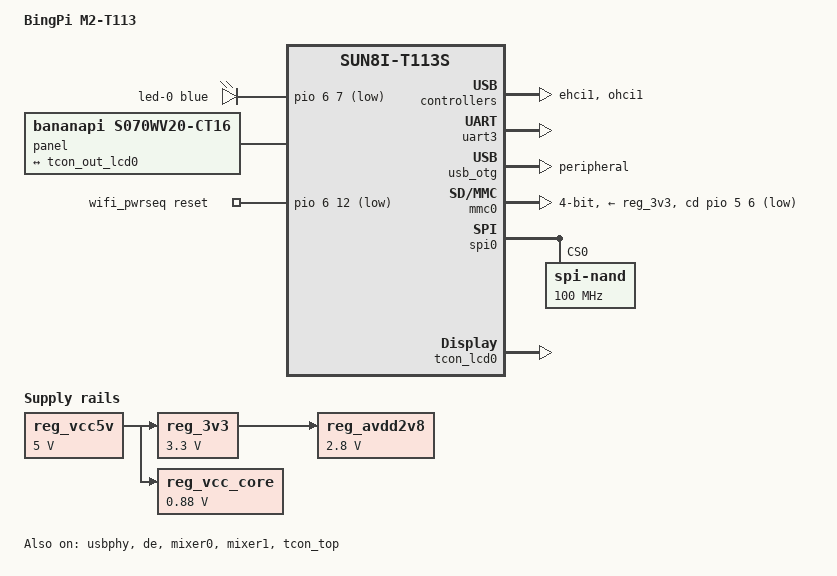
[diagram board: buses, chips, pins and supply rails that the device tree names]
#include <dt-bindings/interrupt-controller/irq.h>
#include <dt-bindings/gpio/gpio.h>
#include <dt-bindings/leds/common.h>

/dts-v1/;

#include "allwinner/sun8i-t113s.dtsi"

/ {
    model = "BingPi M2-T113";
    compatible = "bingpi,m2-t113","allwinner,sun8i-t113s";

	aliases {
		serial3 = &uart3;
		spi0 = &spi0;
	};

	chosen {
		stdout-path = "serial3:115200n8";
	};

	leds {
		compatible = "gpio-leds";

		led-0 {
			color = <LED_COLOR_ID_BLUE>;
			function = LED_FUNCTION_STATUS;
			gpios = <&pio 6 7 GPIO_ACTIVE_LOW>; /* PG07 */
			linux,default-trigger = "heartbeat";
		};
	};

	panel:panel {
		compatible = "bananapi,s070wv20-ct16";
		#address-cells = <1>;
		#size-cells = <0>;

		port@0 {
			#address-cells = <1>;
			#size-cells = <0>;
			reg = <0>;

			panel_input:endpoint@0 {
				reg = <0>;
				remote-endpoint = <&tcon_out_lcd0>;
			};
		};
	};

	/* board wide 5V supply directly from the USB-C socket */
	reg_vcc5v: regulator-5v {
		compatible = "regulator-fixed";
		regulator-name = "vcc-5v";
		regulator-min-microvolt = <5000000>;
		regulator-max-microvolt = <5000000>;
		regulator-always-on;
	};

	/* SY8008 DC/DC regulator on the board */
	reg_3v3: regulator-3v3 {
		compatible = "regulator-fixed";
		regulator-name = "vcc-3v3";
		regulator-min-microvolt = <3300000>;
		regulator-max-microvolt = <3300000>;
		vin-supply = <&reg_vcc5v>;
	};

	/* SY8008 DC/DC regulator on the board, also supplying VDD-SYS */
	reg_vcc_core: regulator-core {
		compatible = "regulator-fixed";
		regulator-name = "vcc-core";
		regulator-min-microvolt = <880000>;
		regulator-max-microvolt = <880000>;
		vin-supply = <&reg_vcc5v>;
	};

	/* XC6206 LDO on the board */
	reg_avdd2v8: regulator-avdd {
		compatible = "regulator-fixed";
		regulator-name = "avdd2v8";
		regulator-min-microvolt = <2800000>;
		regulator-max-microvolt = <2800000>;
		vin-supply = <&reg_3v3>;
	};

	wifi_pwrseq: wifi-pwrseq {
		compatible = "mmc-pwrseq-simple";
		reset-gpios = <&pio 6 12 GPIO_ACTIVE_LOW>; /* PG12 */
	};
};

&cpu0 {
	cpu-supply = <&reg_vcc_core>;
};

&cpu1 {
	cpu-supply = <&reg_vcc_core>;
};

&dcxo {
	clock-frequency = <24000000>;
};

&ehci1 {
	status = "okay";
};

&ohci1 {
	status = "okay";
};

&pio {
	vcc-pb-supply = <&reg_3v3>;
	vcc-pd-supply = <&reg_3v3>;
	vcc-pe-supply = <&reg_avdd2v8>;
	vcc-pf-supply = <&reg_3v3>;
	vcc-pg-supply = <&reg_3v3>;
};

&uart3 {
	pinctrl-names = "default";
	pinctrl-0 = <&uart3_pb_pins>;
	status = "okay";
};

/* The USB-C socket has its CC pins pulled to GND, so is hardwired as a UFP. */
&usb_otg {
	dr_mode = "peripheral";
	dmas =  <&dma 30>,<&dma 30>,
			<&dma 31>,<&dma 31>,
			<&dma 32>,<&dma 32>,
			<&dma 33>,<&dma 33>,
			<&dma 34>,<&dma 34>;
	dma-names = "ep1_tx","ep1_rx",
				"ep2_tx","ep2_rx",
				"ep3_tx","ep3_rx",
				"ep4_tx","ep4_rx",
				"ep5_tx","ep5_rx";
	status = "okay";
};

&usbphy {
	usb1_vbus-supply = <&reg_vcc5v>;
	status = "okay";
};

&spi0_pins {
	pins = "PC2","PC3","PC4","PC5","PC6","PC7";
	function = "spi0";
};

&mmc0 {
    pinctrl-0 = <&mmc0_pins>;
    pinctrl-names = "default";
    vmmc-supply = <&reg_3v3>;
    cd-gpios = <&pio 5 6 GPIO_ACTIVE_LOW>;
    disable-wp;
    bus-width = <4>;
	status = "okay";
};

&spi0 {
	compatible = "allwinner,sun8i-h3-spi";
	pinctrl-0 = <&spi0_pins>;
	pinctrl-names = "default";
	
	status = "okay";

	spi-nand@0 {
		compatible = "spi-nand";
		spi-max-frequency=<0x5f5e100>;
		reg = <0x0>;
		spi-rx-bus-width = <0x01>;
		spi-tx-bus-width = <0x01>;
		status = "okay";
	};
};

&de {
	status = "okay";
};

&display_clocks {
	status = "okay";
};

&mixer0 {
	status = "okay";
};

&mixer1 {
	status = "okay";
};

&tcon_top {
	status = "okay";
};

&tcon_lcd0 {
	status = "okay";
	pinctrl-0 = <&lcd_rgb666_pins>;
	pinctrl-names = "lcd0";
};

&tcon_lcd0_out {
	tcon_out_lcd0:endpoint@0 {
		reg = <0>;
		remote-endpoint = <&panel_input>;
	};
};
